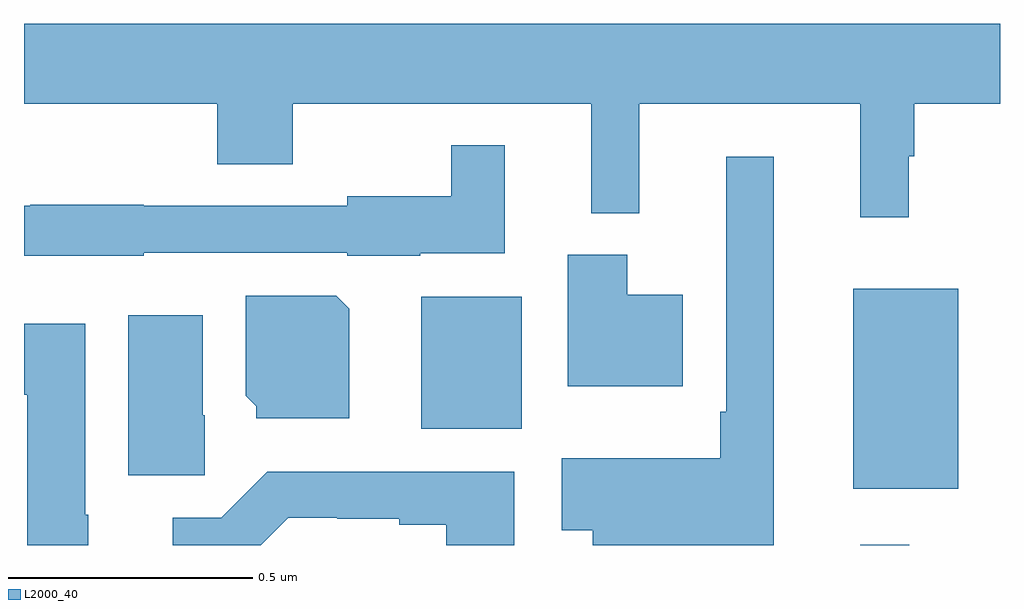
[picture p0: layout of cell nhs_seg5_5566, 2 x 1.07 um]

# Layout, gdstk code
import gdstk
lib = gdstk.Library(unit=1e-6, precision=1e-09)
def R(c, l, rs):  # rectangles x0, y0, x1, y1
    for r in rs: c.add(gdstk.rectangle(r[:2], r[2:], *l))
def P(c, l, *ps):  # polygons
    for p in ps: c.add(gdstk.Polygon(p, *l))
L2000_40 = (2000, 40)

nhs_seg5_5566 = lib.new_cell('nhs_seg5_5566')
R(nhs_seg5_5566, L2000_40, [(185.714,911.799,185.814,911.8), (185.699,911.915,185.914,912.325), (184.814,912.038,185.02,912.308)])
P(nhs_seg5_5566, L2000_40, [(185.813,912.596),(185.824,912.596),(185.824,912.704),(186,912.704),(186,912.868),(184,912.868),(184,912.704),(184.396,912.704),(184.396,912.58),(184.551,912.58),(184.551,912.704),(185.162,912.704),(185.162,912.479),(185.261,912.479),(185.261,912.704),(185.714,912.704),(185.714,912.471),(185.813,912.471)],
  [(184.245,912.399),(184.662,912.399),(184.662,912.392),(184.812,912.392),(184.812,912.398),(184.985,912.398),(184.985,912.619),(184.875,912.619),(184.875,912.514),(184.662,912.514),(184.662,912.495),(184.245,912.495),(184.245,912.497),(184.013,912.497),(184.013,912.495),(184,912.495),(184,912.392),(184.245,912.392)],
  [(185.536,912.595),(185.439,912.595),(185.439,912.073),(185.427,912.073),(185.427,911.977),(185.102,911.977),(185.102,911.83),(185.165,911.83),(185.165,911.799),(185.536,911.799)],
  [(185.35,912.313),(185.236,912.313),(185.236,912.394),(185.114,912.394),(185.114,912.125),(185.35,912.125)],
  [(184.666,912.284),(184.64,912.31),(184.454,912.31),(184.454,912.106),(184.476,912.084),(184.476,912.059),(184.666,912.059)],
  [(184.37,912.066),(184.366,912.066),(184.366,912.271),(184.214,912.271),(184.214,911.943),(184.37,911.943)],
  [(184.132,911.862),(184.126,911.862),(184.126,912.253),(184,912.253),(184,912.108),(184.007,912.108),(184.007,911.799),(184.132,911.799)],
  [(184.542,911.856),(184.642,911.856),(184.642,911.853),(184.769,911.853),(184.769,911.841),(184.865,911.841),(184.865,911.799),(185.005,911.799),(185.005,911.95),(184.498,911.95),(184.404,911.856),(184.305,911.856),(184.305,911.799),(184.485,911.799)])

lib.write_gds('nhs_seg5_5566.gds')
